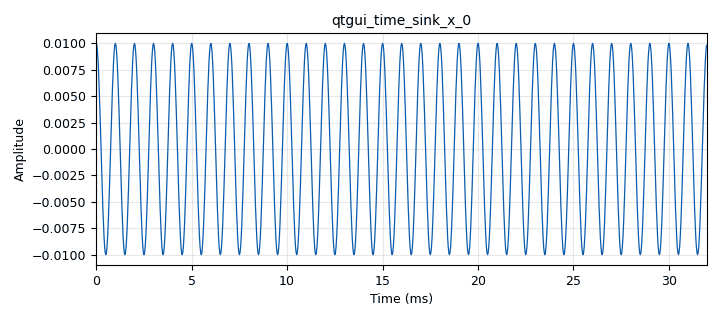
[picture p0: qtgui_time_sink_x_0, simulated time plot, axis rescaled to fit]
options:
  parameters:
    author: funki
    generate_options: qt_gui
    id: simple_demo
    output_language: python
    title: This is the window Name
  states: {}

blocks:
- name: samp_rate
  id: variable
  parameters:
    value: '32000'
  states: {}
- name: analog_sig_source_x_0
  id: analog_sig_source_x
  parameters:
    amp: '.01'
    freq: '1000'
    offset: '0'
    phase: '0'
    samp_rate: samp_rate
    type: float
    waveform: analog.GR_COS_WAVE
  states: {}
- name: blocks_null_sink_0
  id: blocks_null_sink
  parameters:
    type: float
  states: {state: disabled}
- name: blocks_throttle_0
  id: blocks_throttle
  parameters:
    samples_per_second: samp_rate
    type: float
  states: {state: disabled}
- name: qtgui_time_sink_x_0
  id: qtgui_time_sink_x
  parameters:
    size: '1024'
    srate: samp_rate
    type: float
  states: {}

connections:
- [analog_sig_source_x_0, '0', blocks_throttle_0, '0']
- [analog_sig_source_x_0, '0', qtgui_time_sink_x_0, '0']
- [blocks_throttle_0, '0', blocks_null_sink_0, '0']

metadata:
  file_format: 1
